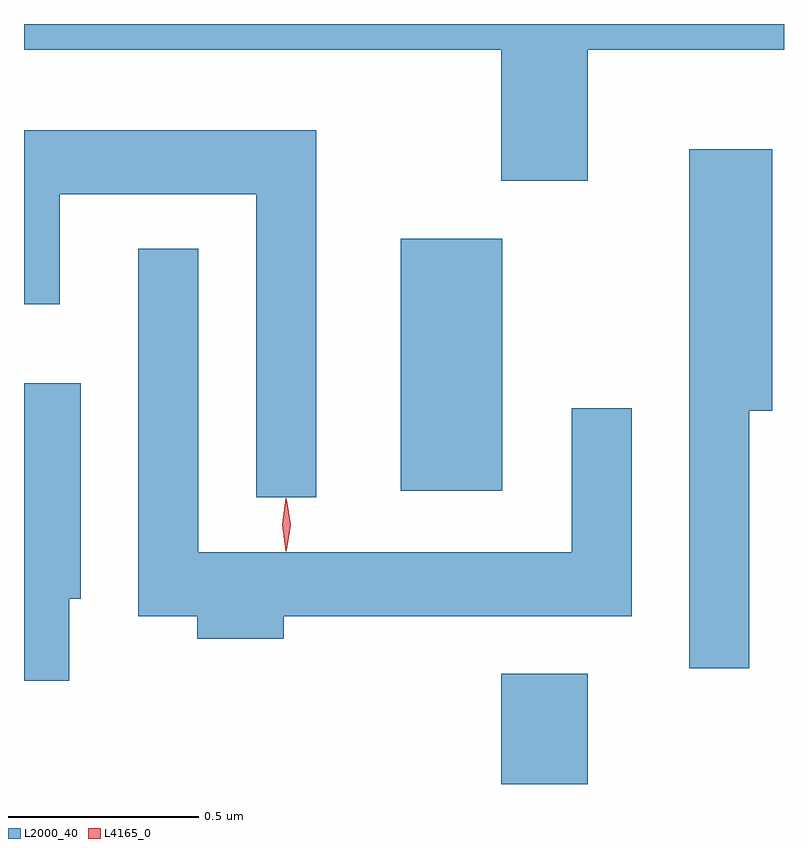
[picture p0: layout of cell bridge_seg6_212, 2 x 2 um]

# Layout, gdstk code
import gdstk
lib = gdstk.Library(unit=1e-6, precision=1e-09)
def R(c, l, rs):  # rectangles x0, y0, x1, y1
    for r in rs: c.add(gdstk.rectangle(r[:2], r[2:], *l))
def P(c, l, *ps):  # polygons
    for p in ps: c.add(gdstk.Polygon(p, *l))
L2000_40 = (2000, 40)
L4165_0 = (4165, 0)

bridge_seg6_212 = lib.new_cell('bridge_seg6_212')
R(bridge_seg6_212, L2000_40, [(1098.341,1552.544,1098.569,1552.834), (1098.076,1553.316,1098.344,1553.979)])
P(bridge_seg6_212, L2000_40, [(1098.569,1554.476),(1099.085,1554.476),(1099.085,1554.544),(1097.085,1554.544),(1097.085,1554.476),(1098.341,1554.476),(1098.341,1554.131),(1098.569,1554.131)],
  [(1097.854,1554.264),(1097.085,1554.264),(1097.085,1553.806),(1097.179,1553.806),(1097.179,1554.096),(1097.696,1554.096),(1097.696,1553.298),(1097.854,1553.298)],
  [(1098.994,1553.526),(1099.054,1553.526),(1099.054,1554.214),(1098.836,1554.214),(1098.836,1552.848),(1098.994,1552.848)],
  [(1097.769,1552.986),(1098.684,1552.986),(1098.684,1553.533),(1098.526,1553.533),(1098.526,1553.154),(1097.544,1553.154),(1097.544,1553.953),(1097.386,1553.953),(1097.386,1552.986),(1097.541,1552.986),(1097.541,1552.926),(1097.769,1552.926)],
  [(1097.204,1553.031),(1097.234,1553.031),(1097.234,1553.599),(1097.085,1553.599),(1097.085,1552.816),(1097.204,1552.816)])
P(bridge_seg6_212, L4165_0, [(1097.774,1553.157),(1097.765,1553.226),(1097.774,1553.296),(1097.775,1553.296),(1097.775,1553.296),(1097.785,1553.226),(1097.775,1553.157),(1097.775,1553.157)],
  [(1097.777,1553.159),(1097.776,1553.16),(1097.767,1553.226),(1097.776,1553.292),(1097.777,1553.293),(1097.777,1553.292),(1097.787,1553.226),(1097.777,1553.16)])

lib.write_gds('bridge_seg6_212.gds')
